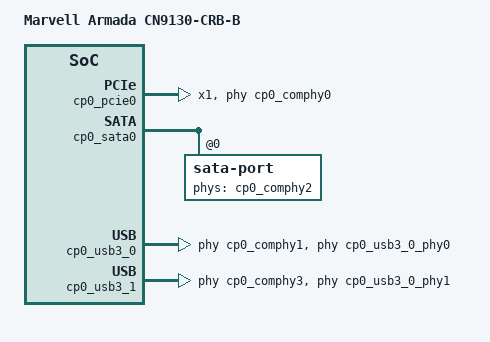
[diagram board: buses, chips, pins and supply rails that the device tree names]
// SPDX-License-Identifier: GPL-2.0+
/*
 * Copyright (C) 2020 Marvell International Ltd.
 */

#include "cn9130-crb.dtsi"

/ {
	model = "Marvell Armada CN9130-CRB-B";
};

&cp0_pcie0 {
	status = "okay";
	num-lanes = <1>;
	num-viewport = <8>;
	/* Generic PHY, providing serdes lanes */
	phys = <&cp0_comphy0 0>;
	iommu-map =
		<0x0   &smmu 0x480 0x20>,
		<0x100 &smmu 0x4a0 0x20>,
		<0x200 &smmu 0x4c0 0x20>;
	iommu-map-mask = <0x031f>;
};

&cp0_sata0 {
	status = "okay";
	sata-port@0 {
		status = "okay";
		/* Generic PHY, providing serdes lanes */
		phys = <&cp0_comphy2 0>;
	};
};

&cp0_usb3_0 {
	status = "okay";
	usb-phy = <&cp0_usb3_0_phy0>;
	phy-names = "usb";
	phys = <&cp0_comphy1 0>;
};

&cp0_usb3_1 {
	status = "okay";
	usb-phy = <&cp0_usb3_0_phy1>;
	phy-names = "usb";
	phys = <&cp0_comphy3 1>;
};
